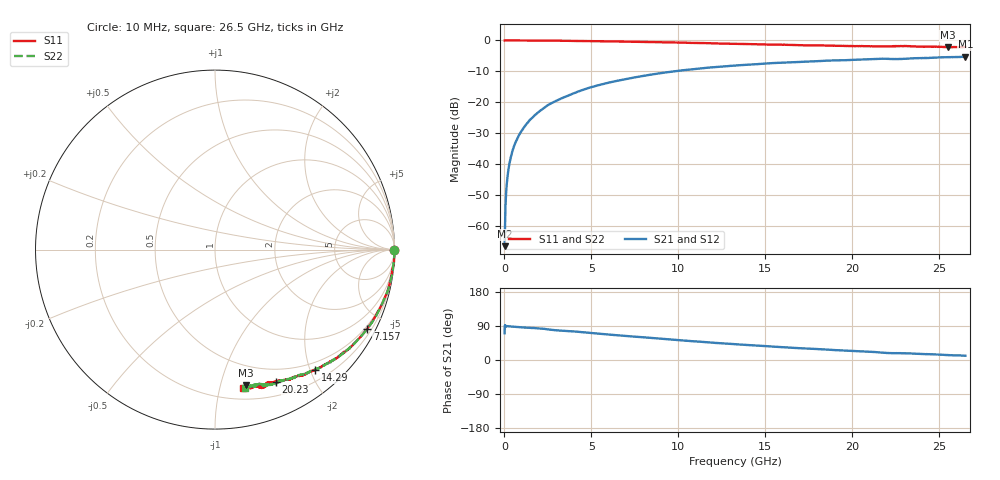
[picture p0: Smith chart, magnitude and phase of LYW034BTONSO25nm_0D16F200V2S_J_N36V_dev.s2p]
!Keysight Technologies,N5222B,MY61253708,A.15.00.15
!Date: Wednesday, June 19, 2024 08:58:30
!Correction: S11(C  2-Port  )
!S21(C  2-Port  )
!S12(C  2-Port  )
!S22(C  2-Port  )
!S2P File: Measurements: S11, S21, S12, S22:
# Hz S  RI  R 50
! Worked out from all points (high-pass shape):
!   2651 points, 10 MHz to 26.5 GHz, reference 50 ohm
!   highest |S21| = -5.23 dB at 26.5 GHz (marker M1); lowest = -66.4 dB at 10 MHz (marker M2)
!   |S21| within 3 dB of the highest: 12.94462 GHz to 12.96402 GHz (19.4 MHz wide, 0.15 % of centre); 12.97 GHz to end of sweep
!   lowest |S11| = -2.2 dB at 25.5 GHz (marker M3), VSWR 7.89, Z = 15.9 - j60.3 ohm
!   |S11| at or under -10 dB: nowhere
!   |S22| runs from -2.1 to 0.0 dB; largest |S21 - S12| = 0.0076
!   S11 on the Smith chart (normalised r, x): 10 MHz: open; 7.157 GHz: 0.40, -4.05; 14.29 GHz: 0.37, -2.08; 20.23 GHz: 0.35, -1.50; 26.5 GHz: 0.29, -1.18
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1e7  0.9987 -0.00214  0.000158 0.000451  -9.56e-05 0.000391  0.9989 -0.000748
7.997358e7  0.9999 -0.00587  4.54e-05 0.00289  8.79e-06 0.00286  0.9993 -0.00544
1.599434e8  0.9998 -0.012  7.48e-05 0.00571  6.82e-05 0.00576  0.9995 -0.0112
2.099245e8  0.9997 -0.015  9.44e-05 0.00749  0.000115 0.00757  0.9994 -0.0144
2.699019e8  0.9997 -0.0194  0.000204 0.00967  0.000171 0.00971  0.9997 -0.0187
3.698642e8  0.9995 -0.0268  0.00037 0.0132  0.000382 0.0133  0.9992 -0.026
5.098113e8  0.999 -0.036  0.00065 0.0181  0.000694 0.0182  0.9992 -0.0354
8.596792e8  0.9977 -0.0603  0.00183 0.0304  0.00183 0.0306  0.9973 -0.06
1.469449e9  0.9894 -0.104  0.00452 0.0522  0.00458 0.0524  0.9921 -0.1
2.339121e9  0.9791 -0.1598  0.0118 0.0836  0.012 0.0841  0.9804 -0.16
3.148815e9  0.9664 -0.2136  0.0235 0.1092  0.0238 0.1098  0.9675 -0.2128
4.428332e9  0.9352 -0.2926  0.0441 0.1504  0.0444 0.1513  0.9369 -0.29
7.157302e9  0.8478 -0.4408  0.1115 0.2165  0.1126 0.2175  0.8501 -0.4395
8.846664e9  0.7827 -0.5156  0.1606 0.245  0.162 0.2458  0.7842 -0.5141
1.3255e10  0.5986 -0.6485  0.2936 0.262  0.2957 0.2619  0.6019 -0.6475
1.429461e10  0.5568 -0.6705  0.3214 0.2569  0.3229 0.2565  0.5607 -0.6666
1.767333e10  0.4229 -0.7184  0.3992 0.2262  0.4025 0.225  0.434 -0.7165
2.023237e10  0.3381 -0.7366  0.4488 0.1947  0.4506 0.1934  0.3511 -0.7367
2.209166e10  0.2901 -0.7435  0.4782 0.1586  0.4797 0.1565  0.2841 -0.7502
2.308129e10  0.261 -0.771  0.4829 0.1538  0.4835 0.1539  0.2612 -0.7523
2.550038e10  0.1739 -0.7553  0.5237 0.1187  0.525 0.1198  0.1941 -0.7601
2.65e10  0.156 -0.7698  0.5371 0.1077  0.536 0.105  0.1681 -0.7693
